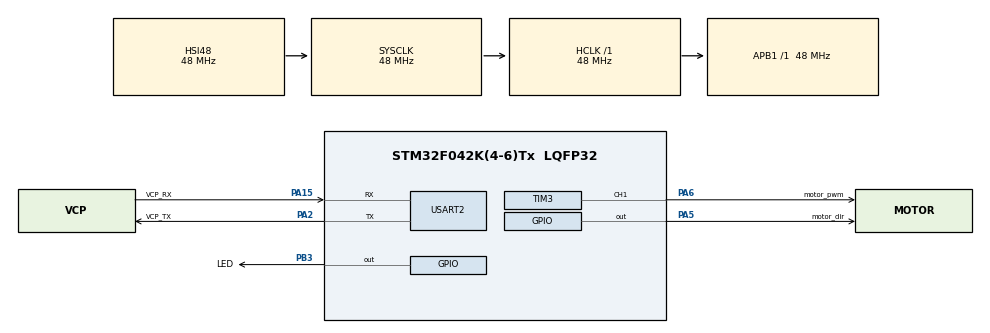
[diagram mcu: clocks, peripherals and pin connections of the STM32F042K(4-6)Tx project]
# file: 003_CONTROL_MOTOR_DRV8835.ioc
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Mcu.Family=STM32F0
Mcu.Name=STM32F042K(4-6)Tx
Mcu.Package=LQFP32
PA13.GPIO_Label=SWDIO
PA13.Mode=Serial_Wire
PA13.Signal=SYS_SWDIO
PA14.GPIO_Label=SWCLK
PA14.Mode=Serial_Wire
PA14.Signal=SYS_SWCLK
PA15.GPIO_Label=VCP_RX
PA15.Mode=Asynchronous
PA15.Signal=USART2_RX
PA2.GPIO_Label=VCP_TX
PA2.Mode=Asynchronous
PA2.Signal=USART2_TX
PA5.GPIO_Label=motor_dir
PA5.Signal=GPIO_Output
PA6.GPIO_Label=motor_pwm
PA6.Signal=S_TIM3_CH1
PB3.GPIO_Label=LED
PB3.Signal=GPIO_Output
ProjectManager.HeapSize=0x200
ProjectManager.StackSize=0x400
ProjectManager.TargetToolchain=STM32CubeIDE
RCC.AHBFreq_Value=48000000
RCC.APB1Freq_Value=48000000
RCC.APB1TimFreq_Value=48000000
RCC.HCLKFreq_Value=48000000
RCC.SYSCLKFreq_VALUE=48000000
RCC.SYSCLKSource=RCC_SYSCLKSOURCE_HSI48
SH.S_TIM3_CH1.0=TIM3_CH1,PWM Generation1 CH1
TIM3.Channel-PWM\ Generation1\ CH1=TIM_CHANNEL_1
TIM3.OCFastMode_PWM-PWM\ Generation1\ CH1=TIM_OCFAST_ENABLE
TIM3.Period=4800-1
TIM3.Prescaler=0
TIM3.Pulse-PWM\ Generation1\ CH1=2400-1
USART2.VirtualMode-Asynchronous=VM_ASYNC
board=NUCLEO-F042K6

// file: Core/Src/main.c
/* USER CODE BEGIN Header */
/**
  ******************************************************************************
  * @file           : main.c
  * @brief          : Main program body
  ******************************************************************************
  * @attention
  *
  * Copyright (c) 2023 STMicroelectronics.
  * All rights reserved.
  *
  * This software is licensed under terms that can be found in the LICENSE file
  * in the root directory of this software component.
  * If no LICENSE file comes with this software, it is provided AS-IS.
  *
  ******************************************************************************
  */
/* USER CODE END Header */
#include "main.h"

/* USER CODE BEGIN Includes */
#include "math.h"

/* USER CODE END Includes */

/* USER CODE BEGIN PD */

#define TIM3_PWM_OC_MAX_VALUE 8000
#define PI 3.1415926535
#define TWO_PI 6.28318531

/* USER CODE END PD */

TIM_HandleTypeDef htim3;

UART_HandleTypeDef huart2;

/* USER CODE BEGIN PV */
uint32_t tim3_oc_max_value = 0;

/* USER CODE END PV */

void SystemClock_Config(void);
static void MX_GPIO_Init(void);
static void MX_USART2_UART_Init(void);
static void MX_TIM3_Init(void);
/* USER CODE BEGIN PFP */
void set_pwm_duty_cycle(uint32_t);

/* USER CODE END PFP */

int main(void)
{
  /* USER CODE BEGIN 1 */
	double freqency = 0.25; //hz
	double omega = TWO_PI * freqency;
	double t = 0;
	uint32_t dt = 10;
//	duty_cycle = dt+1;

  /* USER CODE END 1 */

  /* MCU Configuration--------------------------------------------------------*/

  /* Reset of all peripherals, Initializes the Flash interface and the Systick. */
  HAL_Init();

  /* Configure the system clock */
  SystemClock_Config();

  /* Initialize all configured peripherals */
  MX_GPIO_Init();
  MX_USART2_UART_Init();
  MX_TIM3_Init();
  /* USER CODE BEGIN 2 */
  HAL_TIM_PWM_Start(&htim3, TIM_CHANNEL_1);

  /* USER CODE END 2 */

  /* Infinite loop */
  /* USER CODE BEGIN WHILE */
  HAL_GPIO_WritePin(motor_dir_GPIO_Port, motor_dir_Pin, GPIO_PIN_RESET);
  HAL_GPIO_WritePin(LED_GPIO_Port, LED_Pin, HAL_GPIO_ReadPin(motor_dir_GPIO_Port, motor_dir_Pin));

  while (1)
  {
	  uint32_t duty_cycle = 0;

	  t = t + ((double)dt / 1000);
	  double calc_duty_cycle = (tim3_oc_max_value - 1)*(0.75 * sin(omega * t));

	  if(calc_duty_cycle < 0)
	  {
		  HAL_GPIO_TogglePin(motor_dir_GPIO_Port, motor_dir_Pin);
		  HAL_GPIO_TogglePin(LED_GPIO_Port, LED_Pin);
	  }

	  if(signbit(calc_duty_cycle))
	  {
		  duty_cycle = (uint32_t)fabs(calc_duty_cycle);
		  HAL_GPIO_WritePin(motor_dir_GPIO_Port, motor_dir_Pin, GPIO_PIN_RESET);
		  HAL_GPIO_WritePin(LED_GPIO_Port, LED_Pin, GPIO_PIN_RESET);
	  }
	  else
	  {
		  duty_cycle = tim3_oc_max_value - (uint32_t)fabs(calc_duty_cycle);
		  HAL_GPIO_WritePin(motor_dir_GPIO_Port, motor_dir_Pin, GPIO_PIN_SET);
		  HAL_GPIO_WritePin(LED_GPIO_Port, LED_Pin, GPIO_PIN_SET);
	  }

	  TIM3->CCR1 = duty_cycle;	// set PWM duty cycle

	  HAL_Delay(dt);
    /* USER CODE END WHILE */

  }
}

void SystemClock_Config(void)
{
  RCC_OscInitTypeDef RCC_OscInitStruct = {0};
  RCC_ClkInitTypeDef RCC_ClkInitStruct = {0};

  /** Initializes the RCC Oscillators according to the specified parameters
  * in the RCC_OscInitTypeDef structure.
  */
  RCC_OscInitStruct.OscillatorType = RCC_OSCILLATORTYPE_HSI48;
  RCC_OscInitStruct.HSI48State = RCC_HSI48_ON;
  RCC_OscInitStruct.PLL.PLLState = RCC_PLL_NONE;
  if (HAL_RCC_OscConfig(&RCC_OscInitStruct) != HAL_OK)
  {
    Error_Handler();
  }

  /** Initializes the CPU, AHB and APB buses clocks
  */
  RCC_ClkInitStruct.ClockType = RCC_CLOCKTYPE_HCLK|RCC_CLOCKTYPE_SYSCLK
                              |RCC_CLOCKTYPE_PCLK1;
  RCC_ClkInitStruct.SYSCLKSource = RCC_SYSCLKSOURCE_HSI48;
  RCC_ClkInitStruct.AHBCLKDivider = RCC_SYSCLK_DIV1;
  RCC_ClkInitStruct.APB1CLKDivider = RCC_HCLK_DIV1;

  if (HAL_RCC_ClockConfig(&RCC_ClkInitStruct, FLASH_LATENCY_1) != HAL_OK)
  {
    Error_Handler();
  }
}

static void MX_TIM3_Init(void)
{

  TIM_MasterConfigTypeDef sMasterConfig = {0};
  TIM_OC_InitTypeDef sConfigOC = {0};

  htim3.Instance = TIM3;
  htim3.Init.Prescaler = 0;
  htim3.Init.CounterMode = TIM_COUNTERMODE_UP;
  htim3.Init.Period = 4800-1;
  htim3.Init.ClockDivision = TIM_CLOCKDIVISION_DIV1;
  htim3.Init.AutoReloadPreload = TIM_AUTORELOAD_PRELOAD_DISABLE;
  if (HAL_TIM_PWM_Init(&htim3) != HAL_OK)
  {
    Error_Handler();
  }
  sMasterConfig.MasterOutputTrigger = TIM_TRGO_RESET;
  sMasterConfig.MasterSlaveMode = TIM_MASTERSLAVEMODE_DISABLE;
  if (HAL_TIMEx_MasterConfigSynchronization(&htim3, &sMasterConfig) != HAL_OK)
  {
    Error_Handler();
  }
  sConfigOC.OCMode = TIM_OCMODE_PWM1;
  sConfigOC.Pulse = 2400-1;
  sConfigOC.OCPolarity = TIM_OCPOLARITY_HIGH;
  sConfigOC.OCFastMode = TIM_OCFAST_ENABLE;
  if (HAL_TIM_PWM_ConfigChannel(&htim3, &sConfigOC, TIM_CHANNEL_1) != HAL_OK)
  {
    Error_Handler();
  }
  /* USER CODE BEGIN TIM3_Init 2 */
  tim3_oc_max_value = htim3.Init.Period;

  /* USER CODE END TIM3_Init 2 */
  HAL_TIM_MspPostInit(&htim3);

}

static void MX_USART2_UART_Init(void)
{

  huart2.Instance = USART2;
  huart2.Init.BaudRate = 38400;
  huart2.Init.WordLength = UART_WORDLENGTH_8B;
  huart2.Init.StopBits = UART_STOPBITS_1;
  huart2.Init.Parity = UART_PARITY_NONE;
  huart2.Init.Mode = UART_MODE_TX_RX;
  huart2.Init.HwFlowCtl = UART_HWCONTROL_NONE;
  huart2.Init.OverSampling = UART_OVERSAMPLING_16;
  huart2.Init.OneBitSampling = UART_ONE_BIT_SAMPLE_DISABLE;
  huart2.AdvancedInit.AdvFeatureInit = UART_ADVFEATURE_NO_INIT;
  if (HAL_UART_Init(&huart2) != HAL_OK)
  {
    Error_Handler();
  }

}

static void MX_GPIO_Init(void)
{
  GPIO_InitTypeDef GPIO_InitStruct = {0};

  /* GPIO Ports Clock Enable */
  __HAL_RCC_GPIOA_CLK_ENABLE();
  __HAL_RCC_GPIOB_CLK_ENABLE();

  /*Configure GPIO pin Output Level */
  HAL_GPIO_WritePin(motor_dir_GPIO_Port, motor_dir_Pin, GPIO_PIN_RESET);

  /*Configure GPIO pin Output Level */
  HAL_GPIO_WritePin(LED_GPIO_Port, LED_Pin, GPIO_PIN_RESET);

  /*Configure GPIO pin : motor_dir_Pin */
  GPIO_InitStruct.Pin = motor_dir_Pin;
  GPIO_InitStruct.Mode = GPIO_MODE_OUTPUT_PP;
  GPIO_InitStruct.Pull = GPIO_NOPULL;
  GPIO_InitStruct.Speed = GPIO_SPEED_FREQ_LOW;
  HAL_GPIO_Init(motor_dir_GPIO_Port, &GPIO_InitStruct);

  /*Configure GPIO pin : LED_Pin */
  GPIO_InitStruct.Pin = LED_Pin;
  GPIO_InitStruct.Mode = GPIO_MODE_OUTPUT_PP;
  GPIO_InitStruct.Pull = GPIO_NOPULL;
  GPIO_InitStruct.Speed = GPIO_SPEED_FREQ_LOW;
  HAL_GPIO_Init(LED_GPIO_Port, &GPIO_InitStruct);

}

/* USER CODE BEGIN 4 */

void set_pwm_duty_cycle(uint32_t duty_cycle)
{
	// configure output compare functionality
//	TIM_OC_InitTypeDef sConfigOC = {0};
//	sConfigOC.OCMode = TIM_OCMODE_PWM1;
//	sConfigOC.Pulse = duty_cycle;
//	sConfigOC.OCPolarity = TIM_OCPOLARITY_HIGH;
//	sConfigOC.OCFastMode = TIM_OCFAST_ENABLE;

//	// stop PWM
//	HAL_TIM_PWM_Stop(&htim3, TIM_CHANNEL_1);
//
//	// configure channel
//	if (HAL_TIM_PWM_ConfigChannel(&htim3, &sConfigOC, TIM_CHANNEL_1) != HAL_OK)
//	{
//	Error_Handler();
//	}
//
//	// start PWM
//	HAL_TIM_PWM_Start(&htim3, TIM_CHANNEL_1);

	TIM3->CCR1 = duty_cycle;

}

/* USER CODE END 4 */

void Error_Handler(void)
{
  __disable_irq();
  while (1)
  {
  }
}
